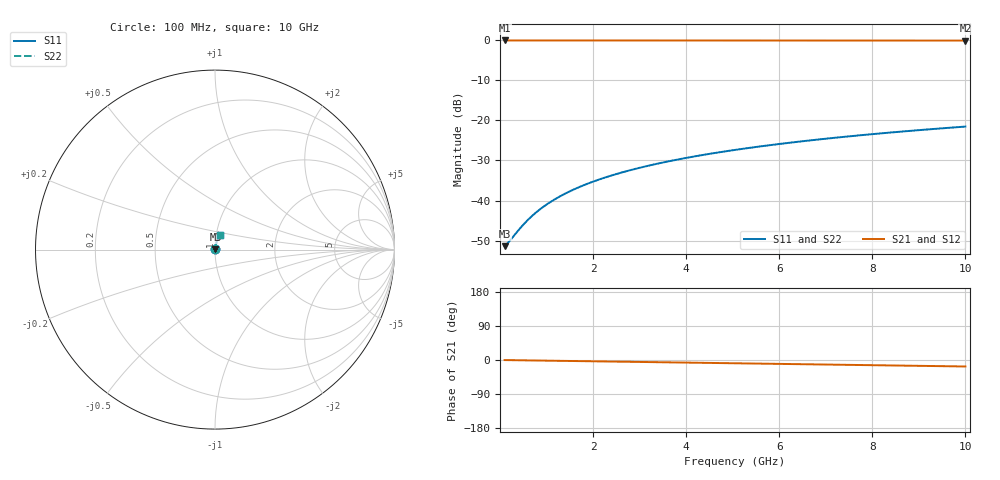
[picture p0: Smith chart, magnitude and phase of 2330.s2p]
# Hz S RI R 50.00
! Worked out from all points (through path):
!   100 points, 100 MHz to 10 GHz, reference 50 ohm
!   highest |S21| = -0.02 dB at 100 MHz (marker M1); lowest = -0.1 dB at 10 GHz (marker M2)
!   group delay of S21, straight-line fit = 4.75 ps
!   lowest |S11| = -51.4 dB at 100 MHz (marker M3), VSWR 1.01, Z = 50.3 + j0.0847 ohm
!   |S11| at or under -10 dB: start of sweep to end of sweep
!   |S22| runs from -51.4 to -21.5 dB; largest |S21 - S12| = 0
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1e8  0.00256 0.000843  0.9974 -0.00297  0.9974 -0.00297  0.00256 0.000843
2e8  0.00258 0.00169  0.9974 -0.00595  0.9974 -0.00595  0.00258 0.00169
4e8  0.00263 0.00337  0.9973 -0.0119  0.9973 -0.0119  0.00263 0.00337
5e8  0.00266 0.00421  0.9973 -0.0149  0.9973 -0.0149  0.00266 0.00421
6e8  0.0027 0.00506  0.9972 -0.0178  0.9972 -0.0178  0.0027 0.00506
7e8  0.00274 0.0059  0.9971 -0.0208  0.9971 -0.0208  0.00274 0.0059
9e8  0.00283 0.00758  0.997 -0.0268  0.997 -0.0268  0.00283 0.00758
1.1e9  0.00294 0.00926  0.9968 -0.0327  0.9968 -0.0327  0.00294 0.00926
1.3e9  0.00306 0.0109  0.9965 -0.0387  0.9965 -0.0387  0.00306 0.0109
1.5e9  0.00321 0.0126  0.9962 -0.0446  0.9962 -0.0446  0.00321 0.0126
1.8e9  0.00347 0.0151  0.9958 -0.0535  0.9958 -0.0535  0.00347 0.0151
2.1e9  0.00377 0.0176  0.9952 -0.0624  0.9952 -0.0624  0.00377 0.0176
2.5e9  0.00424 0.021  0.9943 -0.0743  0.9943 -0.0743  0.00424 0.021
2.9e9  0.0048 0.0243  0.9932 -0.0861  0.9932 -0.0861  0.0048 0.0243
3.4e9  0.00559 0.0284  0.9917 -0.1009  0.9917 -0.1009  0.00559 0.0284
4.2e9  0.00713 0.035  0.9888 -0.1246  0.9888 -0.1246  0.00713 0.035
5.1e9  0.00923 0.0423  0.9847 -0.1511  0.9847 -0.1511  0.00923 0.0423
5.9e9  0.0114 0.0487  0.9805 -0.1745  0.9805 -0.1745  0.0114 0.0487
6.7e9  0.0139 0.0549  0.9757 -0.1978  0.9757 -0.1978  0.0139 0.0549
7.5e9  0.0167 0.061  0.9703 -0.221  0.9703 -0.221  0.0167 0.061
8.4e9  0.0202 0.0678  0.9634 -0.2469  0.9634 -0.2469  0.0202 0.0678
1e10  0.0273 0.0793  0.9495 -0.2924  0.9495 -0.2924  0.0273 0.0793
